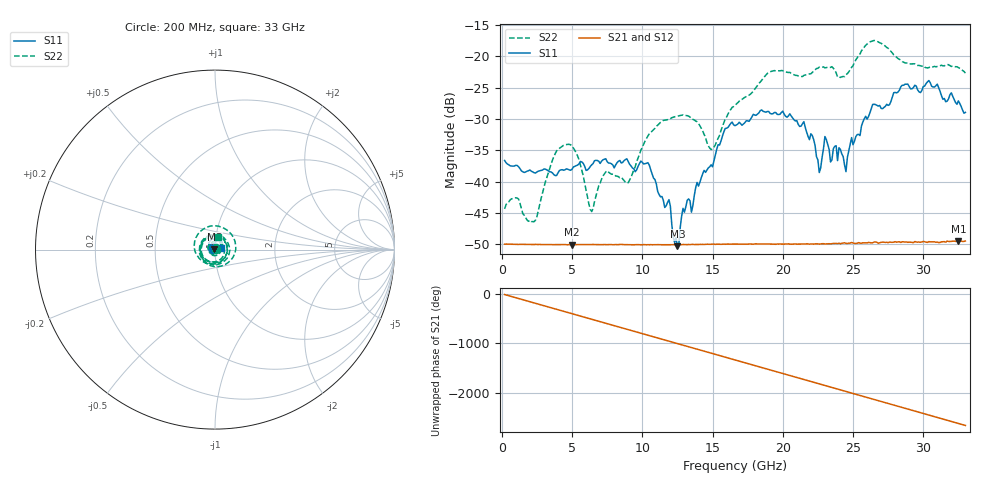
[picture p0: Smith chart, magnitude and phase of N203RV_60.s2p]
# GHZ S RI R 50
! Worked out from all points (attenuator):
!   329 points, 200 MHz to 33 GHz, reference 50 ohm
!   highest |S21| = -49.46 dB at 32.5 GHz (marker M1); lowest = -50.1 dB at 5 GHz (marker M2)
!   lowest |S11| = -50.3 dB at 12.5 GHz (marker M3), VSWR 1.01, Z = 49.7 + j0.058 ohm
!   |S11| at or under -10 dB: start of sweep to end of sweep
!   |S22| runs from -46.4 to -17.5 dB; largest |S21 - S12| = 7.2e-05
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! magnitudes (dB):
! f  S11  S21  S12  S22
! 200 MHz  -36.6  -50.0  -49.9  -44.3
! 2.3 GHz  -38.6  -50.0  -50.0  -46.4
! 3.8 GHz  -39.0  -50.1  -50.0  -35.5
! 5 GHz  -38.0  -50.1  -50.0  -34.3
! 5.7 GHz  -36.9  -50.0  -50.0  -38.2
! 6.4 GHz  -37.3  -50.0  -50.0  -44.8
! 10.4 GHz  -37.0  -50.1  -50.1  -32.7
! 11.2 GHz  -42.1  -50.1  -50.0  -30.8
! 11.9 GHz  -42.9  -50.1  -50.1  -30.1
! 12.5 GHz  -50.3  -50.0  -50.0  -29.6
! 12.9 GHz  -44.3  -50.0  -50.0  -29.4
! 14.9 GHz  -37.3  -50.0  -50.0  -34.9
! 16.6 GHz  -31.1  -49.9  -49.9  -27.8
! 22.1 GHz  -32.6  -49.9  -49.9  -22.6
! 22.6 GHz  -38.5  -50.0  -49.9  -21.7
! 23 GHz  -32.8  -49.9  -49.9  -21.8
! 24.5 GHz  -38.4  -49.8  -49.8  -23.0
! 26.4 GHz  -27.7  -49.8  -49.7  -17.5
! 27.6 GHz  -27.7  -49.6  -49.7  -19.0
! 30.4 GHz  -23.9  -49.6  -49.6  -21.8
! 32.5 GHz  -27.1  -49.5  -49.5  -21.8
! 33 GHz  -28.9  -49.5  -49.5  -22.7
